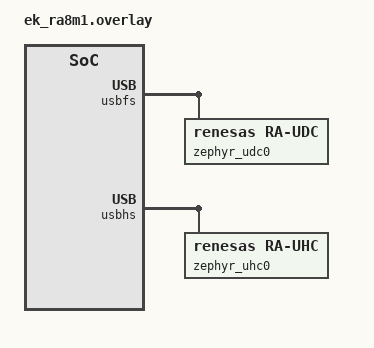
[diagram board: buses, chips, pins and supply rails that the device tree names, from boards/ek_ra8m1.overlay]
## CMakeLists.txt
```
# SPDX-FileCopyrightText: Copyright 2026 Renesas, Embedd
# SPDX-License-Identifier: Apache-2.0

cmake_minimum_required(VERSION 3.20.0)

find_package(Zephyr REQUIRED HINTS $ENV{ZEPHYR_BASE})
project(test_usbh_msc)

if(${BOARD} STREQUAL "native_sim")
  include(${ZEPHYR_BASE}/samples/subsys/usb/common/common.cmake)
endif()

target_include_directories(app PRIVATE ${ZEPHYR_BASE}/tests/subsys/usb/host/common)
target_include_directories(app PRIVATE ${ZEPHYR_BASE}/subsys/usb/host)

target_sources(app PRIVATE src/msc.c)

if(${BOARD} STREQUAL "native_sim")
    target_sources(app PRIVATE src/ram_disk.c src/fault_disk.c)
endif()
```

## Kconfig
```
# SPDX-FileCopyrightText: Copyright 2026 Renesas, Embedd
# SPDX-License-Identifier: Apache-2.0

config SYS_CLOCK_TICKS_PER_SEC
	default 1000000 if BOARD_NATIVE_SIM

config TEST_NUM_LUN
	int
	default 3 if BOARD_NATIVE_SIM
	default 1

# Source common USB sample options used to initialize new experimental USB
# device stack. The scope of these options is limited to USB samples in project
# tree, you cannot use them in your own application.
source "samples/subsys/usb/common/Kconfig.sample_usbd"

source "Kconfig.zephyr"
```

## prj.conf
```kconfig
# SPDX-FileCopyrightText: Copyright 2026 Renesas, Embedd
# SPDX-License-Identifier: Apache-2.0

CONFIG_LOG=y
CONFIG_ZTEST=y

CONFIG_USB_DEVICE_STACK_NEXT=y
CONFIG_SAMPLE_USBD_PID=0xFFFF
CONFIG_SAMPLE_USBD_REMOTE_WAKEUP=y
CONFIG_SAMPLE_USBD_PRODUCT="Zephyr USB MSC Test"

CONFIG_UHC_DRIVER=y
CONFIG_USB_HOST_STACK=y
CONFIG_USBH_MSC_CLASS=y

CONFIG_UART_LINE_CTRL=y

CONFIG_USBD_MSC_CLASS=y
CONFIG_USBH_MSC_MAX_SUPPORTED_LUN=3
CONFIG_USBD_MSC_LUNS_PER_INSTANCE=3
CONFIG_USBD_MSC_SCSI_BUFFER_SIZE=1024
CONFIG_FS_FATFS_MAX_SS=1024
CONFIG_FILE_SYSTEM=y
CONFIG_FAT_FILESYSTEM_ELM=y
CONFIG_FS_FATFS_LFN=y
CONFIG_USBH_STACK_SIZE=4096

CONFIG_UHC_BUF_POOL_SIZE=4096
CONFIG_UHC_XFER_COUNT=32
CONFIG_UHC_BUF_COUNT=32

CONFIG_UHC_RENESAS_RA_STACK_SIZE=1024
CONFIG_ZTEST_STACK_SIZE=2048

CONFIG_FS_FATFS_CUSTOM_MOUNT_POINT_COUNT=4
CONFIG_FS_FATFS_CUSTOM_MOUNT_POINTS="RAM0,RAM1,USB0_0,USB0_1"

CONFIG_USBH_MSC_LOG_LEVEL_INF=y
CONFIG_USBH_LOG_LEVEL_INF=y
CONFIG_UHC_DRIVER_LOG_LEVEL_INF=y

CONFIG_DEBUG_OPTIMIZATIONS=y
```

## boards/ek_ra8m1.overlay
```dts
/*
 * SPDX-FileCopyrightText: Copyright 2026 Renesas, Embedd
 * SPDX-License-Identifier: Apache-2.0
 */

/delete-node/ &zephyr_udc0;
/delete-node/ &zephyr_uhc0;

&usbfs {
	pinctrl-0 = <&usbfs_default>;
	pinctrl-names = "default";
	maximum-speed = "full-speed";
	status = "okay";

	zephyr_udc0: udc {
		compatible = "renesas,ra-udc";
		status = "okay";
	};
};

&usbhs {
	pinctrl-0 = <&usbhs_default>;
	pinctrl-names = "default";
	maximum-speed = "high-speed";
	status = "okay";

	zephyr_uhc0: uhc {
		compatible = "renesas,ra-uhc";
		status = "okay";
	};
};
```

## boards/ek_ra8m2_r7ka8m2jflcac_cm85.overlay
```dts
/*
 * SPDX-FileCopyrightText: Copyright 2026 Renesas, Embedd
 * SPDX-License-Identifier: Apache-2.0
 */

/delete-node/ &zephyr_udc0;

&ioportd {
	status = "okay";

	/* Set PD07 to high to enable host mode on USBHS port */
	usbhs-hog {
		gpio-hog;
		gpios = <7 GPIO_ACTIVE_HIGH>;
		output-high;
	};
};

&usbhs {
	pinctrl-0 = <&usbhs_default>;
	interrupts = <28 1>;
	interrupt-names = "usbhs-ir";
	status = "okay";

	zephyr_uhc0: uhc {
		status = "okay";
	};
};
```

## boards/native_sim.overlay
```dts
/*
 * SPDX-FileCopyrightText: Copyright 2026 Renesas, Embedd
 * SPDX-License-Identifier: Apache-2.0
 */

/delete-node/ &zephyr_udc0;

/ {
	zephyr_uhc0: uhc_vrt0 {
		compatible = "zephyr,uhc-virtual";

		zephyr_udc0: udc_vrt0 {
			compatible = "zephyr,udc-virtual";
			num-bidir-endpoints = <8>;
			maximum-speed = "high-speed";
		};
	};

	ramdisk0: ramdisk0 {
		status = "okay";
		compatible = "zephyr,ram-disk";
		disk-name = "RAM0";
		sector-size = <512>;
		sector-count = <1024>;
	};

	ramdisk1: ramdisk1 {
		status = "okay";
		compatible = "zephyr,ram-disk";
		disk-name = "RAM1";
		sector-size = <1024>;
		sector-count = <512>;
	};
};
```

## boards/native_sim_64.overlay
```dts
/*
 * SPDX-FileCopyrightText: Copyright 2026 Renesas, Embedd
 * SPDX-License-Identifier: Apache-2.0
 */

#include "native_sim.overlay"
```

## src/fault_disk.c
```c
/*
 * SPDX-FileCopyrightText: Copyright 2026 Renesas, Embedd
 * SPDX-License-Identifier: Apache-2.0
 */

#include <string.h>

#include <zephyr/kernel.h>
#include <zephyr/usb/class/usbd_msc.h>
#include <zephyr/drivers/disk.h>
#include <zephyr/storage/disk_access.h>

#include "fault_disk.h"

#define FAULT_DISK_SECTOR_SIZE  512u
#define FAULT_DISK_SECTOR_COUNT 64u

/*
 * `USBD_DEFINE_MSC_LUN(id, ...)` places its LUN in the `usbd_msc_lun` iterable section, which
 * the linker sorts alphabetically by the resulting `usbd_msc_lun_##id` symbol name (SORT_BY_NAME,
 * see include/zephyr/linker/iterable_sections.h) -- NOT by declaration/link order. This id is
 * chosen to sort after ram_disk.c's "ram0"/"ram1" so this LUN lands last (index CONFIG_TEST_NUM_LUN
 * - 1, i.e. "USB0_2"), matching DISK_DRIVE_NAME_FAULT in msc.c.
 */
USBD_DEFINE_MSC_LUN(zzz_fault, FAULT_DISK_NAME, "Zephyr", "FaultDisk", "0.00");

static uint8_t backing[FAULT_DISK_SECTOR_COUNT][FAULT_DISK_SECTOR_SIZE];

/* -1: report the real status; otherwise the DISK_STATUS_* value to report instead */
static int status_override = -1;
static bool read_should_fail;
static bool write_should_fail;

static int fault_disk_init(struct disk_info *disk)
{
	ARG_UNUSED(disk);

	return 0;
}

static int fault_disk_status(struct disk_info *disk)
{
	ARG_UNUSED(disk);

	return status_override >= 0 ? status_override : DISK_STATUS_OK;
}

static int fault_disk_read(struct disk_info *disk, uint8_t *data_buf, uint32_t start_sector,
			   uint32_t num_sector)
{
	ARG_UNUSED(disk);

	if (read_should_fail) {
		return -EIO;
	}

	if (start_sector + num_sector > FAULT_DISK_SECTOR_COUNT) {
		return -EINVAL;
	}

	memcpy(data_buf, backing[start_sector], (size_t)num_sector * FAULT_DISK_SECTOR_SIZE);

	return 0;
}

static int fault_disk_write(struct disk_info *disk, const uint8_t *data_buf, uint32_t start_sector,
			    uint32_t num_sector)
{
	ARG_UNUSED(disk);

	if (write_should_fail) {
		return -EIO;
	}

	if (start_sector + num_sector > FAULT_DISK_SECTOR_COUNT) {
		return -EINVAL;
	}

	memcpy(backing[start_sector], data_buf, (size_t)num_sector * FAULT_DISK_SECTOR_SIZE);

	return 0;
}

static int fault_disk_ioctl(struct disk_info *disk, uint8_t cmd, void *buff)
{
	ARG_UNUSED(disk);

	switch (cmd) {
	case DISK_IOCTL_GET_SECTOR_COUNT:
		*(uint32_t *)buff = FAULT_DISK_SECTOR_COUNT;
		return 0;
	case DISK_IOCTL_GET_SECTOR_SIZE:
		*(uint32_t *)buff = FAULT_DISK_SECTOR_SIZE;
		return 0;
	case DISK_IOCTL_CTRL_SYNC:
	case DISK_IOCTL_CTRL_INIT:
	case DISK_IOCTL_CTRL_DEINIT:
		return 0;
	default:
		return -ENOTSUP;
	}
}

static const struct disk_operations fault_disk_ops = {
	.init = fault_disk_init,
	.status = fault_disk_status,
	.read = fault_disk_read,
	.write = fault_disk_write,
	.ioctl = fault_disk_ioctl,
};

static struct disk_info fault_disk_info = {
	.name = FAULT_DISK_NAME,
	.ops = &fault_disk_ops,
};

void fault_disk_setup(void)
{
	disk_access_register(&fault_disk_info);
}

void fault_disk_reset(void)
{
	status_override = -1;
	read_should_fail = false;
	write_should_fail = false;
}

void fault_disk_set_status_override(int status)
{
	status_override = status;
}

void fault_disk_set_read_error(bool fail)
{
	read_should_fail = fail;
}

void fault_disk_set_write_error(bool fail)
{
	write_should_fail = fail;
}
```

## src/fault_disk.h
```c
/*
 * SPDX-FileCopyrightText: Copyright 2026 Renesas, Embedd
 * SPDX-License-Identifier: Apache-2.0
 */

#ifndef FAULT_DISK_H_INCLUDED
#define FAULT_DISK_H_INCLUDED

#include <stdbool.h>

/* Disk name as registered with the Disk Access API and exposed as a third MSC LUN */
#define FAULT_DISK_NAME "FAULT0"

/**
 * @brief Register the simulated fault-injectable disk
 */
void fault_disk_setup(void);

/**
 * @brief Clear all fault injection, restoring normal disk behavior
 */
void fault_disk_reset(void);

/**
 * @brief Override the value reported by the disk's status callback
 *
 * @param status A DISK_STATUS_* value to report, or -1 to report the real (normal) status
 */
void fault_disk_set_status_override(int status);

/**
 * @brief Force (or stop forcing) the next reads to fail
 *
 * @param fail true to make reads fail, false to let them succeed normally
 */
void fault_disk_set_read_error(bool fail);

/**
 * @brief Force (or stop forcing) the next writes to fail
 *
 * @param fail true to make writes fail, false to let them succeed normally
 */
void fault_disk_set_write_error(bool fail);

#endif /* FAULT_DISK_H_INCLUDED */
```

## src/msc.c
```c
/*
 * SPDX-FileCopyrightText: Copyright 2026 Renesas, Embedd
 * SPDX-License-Identifier: Apache-2.0
 */

#include <zephyr/ztest.h>
#include <zephyr/usb/usbd.h>
#include <zephyr/input/input.h>
#if DT_NODE_HAS_STATUS(DT_NODELABEL(ramdisk0), okay) ||                                            \
	DT_NODE_HAS_STATUS(DT_NODELABEL(ramdisk1), okay)
#include <sample_usbd.h>
#endif
#include <zephyr/usb/class/usbd_msc.h>
#include <zephyr/kernel.h>
#include <zephyr/device.h>
#include <zephyr/storage/disk_access.h>
#include <zephyr/logging/log.h>
#include <zephyr/fs/fs.h>
#include <zephyr/ztest.h>
#include <zephyr/logging/log.h>
LOG_MODULE_REGISTER(test, LOG_LEVEL_INF);

#include <ff.h>
#include "usbh_desc.h"
#include "usbh_device.h"
#include "ram_disk.h"
#include "fault_disk.h"

/* USB Host controller */
USBH_CONTROLLER_DEFINE(test_uhs_ctx, DEVICE_DT_GET(DT_NODELABEL(zephyr_uhc0)));

/* File system test parameters */
#define SOME_FILE_NAME    "file"
#define SOME_DIR_NAME     "some"
#define SOME_REQUIRED_LEN MAX(sizeof(SOME_FILE_NAME), sizeof(SOME_DIR_NAME))
#define NUM_FILES         5

/* Test up to two logical units */
#define DISK_DRIVE_NAME_0 "USB0_0"
#define DISK_MOUNT_PT_0   "/" DISK_DRIVE_NAME_0 ":"

#if CONFIG_TEST_NUM_LUN > 1
#define DISK_DRIVE_NAME_1 "USB0_1"
#define DISK_MOUNT_PT_1   "/" DISK_DRIVE_NAME_1 ":"
#endif

#if CONFIG_TEST_NUM_LUN > 2
/* Third logical unit, backed by the fault-injectable disk */
#define DISK_DRIVE_NAME_FAULT "USB0_2"
#endif

/* USB Host controller context pointer for convenience */
struct usbh_context *const uhs_ctx = &test_uhs_ctx;
#if DT_NODE_HAS_STATUS(DT_NODELABEL(ramdisk0), okay) ||                                            \
	DT_NODE_HAS_STATUS(DT_NODELABEL(ramdisk1), okay)
/* USB Device controller context pointer for convenience */
static struct usbd_context *test_usbd = NULL;
#endif

/* Test data to be written to files */
static uint8_t const lorem_ipsum_buffer[] =
	"Lorem ipsum dolor sit amet, consectetur adipiscing elit. Pellentesque eget nunc vel "
	"mauris faucibus iaculis. Phasellus finibus porttitor arcu. "
	"Proin condimentum dignissim lectus, eu elementum eros hendrerit vitae. Phasellus id "
	"luctus sapien. Donec dapibus justo a urna sollicitudin, nec "
	"dapibus velit sodales. Duis posuere tellus in venenatis gravida. Curabitur vestibulum "
	"efficitur finibus. Curabitur elementum non sem imperdiet "
	"feugiat. Vivamus in orci tortor. Cras aliquam facilisis nisi ut suscipit. Phasellus sem "
	"purus, tincidunt quis lacinia efficitur, ultrices "
	"vehicula diam. Nunc posuere scelerisque tellus, eget viverra mauris suscipit non. "
	"Praesent eros lorem, tincidunt eu porttitor et, porta non "
	"ipsum. Sed ultricies purus in neque luctus varius. Nulla enim risus, posuere et molestie "
	"a, congue sed est. Nunc egestas laoreet sapien ut "
	"sagittis. Aliquam efficitur velit a augue maximus scelerisque. Donec euismod est vel odio "
	"vestibulum laoreet. Cras gravida luctus volutpat. "
	"Pellentesque eleifend non lorem vel semper. Nullam gravida dolor non rutrum interdum. "
	"Fusce vel lectus fringilla, varius lectus non, condimentum "
	"tortor. Ut ac justo ut tellus semper laoreet. Curabitur placerat, magna ac consequat "
	"scelerisque, nunc ex vulputate purus, a venenatis lectus "
	"nisi at dui. Vivamus luctus tellus massa. Vivamus sagittis, ex a ultrices ullamcorper, "
	"ante lacus pulvinar felis, a tempus nunc nulla eu massa. "
	"Proin elementum ornare ligula, id rutrum eros commodo at. Sed dignissim eros et molestie "
	"lacinia. Praesent ac tempus erat. Pellentesque vulputate "
	"ligula ex, vitae varius justo efficitur at. Lorem ipsum dolor sit amet, consectetur "
	"adipiscing elit. Vestibulum ac lacus sodales, vulputate purus "
	"a, sagittis dolor. Ut ut lacus faucibus massa interdum fringilla. Interdum et malesuada "
	"fames ac ante ipsum primis in faucibus. Integer "
	"ullamcorper dignissim orci. Aliquam erat volutpat.";

static void *suite_setup(void)
{
	int result = 0;

	result = usbh_init(uhs_ctx);
	zassert_ok(result, "Failed to initialize USB host");

	result = usbh_enable(uhs_ctx);
	zassert_ok(result, "Failed to enable USB host");
	k_msleep(500);

	result = uhc_bus_resume(uhs_ctx->dev);
	zassert_ok(result, "Failed to signal bus resume");
	k_msleep(500);

	result = uhc_bus_reset(uhs_ctx->dev);
	zassert_ok(result, "Failed to signal bus reset");

	result = uhc_sof_enable(uhs_ctx->dev);
	zassert_ok(result, "Failed to enable SoF generator");

#if DT_NODE_HAS_STATUS(DT_NODELABEL(ramdisk0), okay) ||                                            \
	DT_NODE_HAS_STATUS(DT_NODELABEL(ramdisk1), okay)
	ram_disk_setup();
	fault_disk_setup();

	test_usbd = sample_usbd_setup_device(NULL);
	zassert_not_null(test_usbd, "Failed to setup USB device");

	result = usbd_init(test_usbd);
	zassert_ok(result, "Failed to initialize device support");

	result = usbd_enable(test_usbd);
	zassert_ok(result, "Failed to enable device support");

#endif
	/* Allow the host time to reset the device. */
	k_msleep(1000);

	return NULL;
}

static void suite_shutdown(void *f)
{
	int result = 0;

#if DT_NODE_HAS_STATUS(DT_NODELABEL(ramdisk0), okay) ||                                            \
	DT_NODE_HAS_STATUS(DT_NODELABEL(ramdisk1), okay)
	result = usbd_disable(test_usbd);
	zassert_ok(result, "Failed to disable device support");

	result = usbd_shutdown(test_usbd);
	zassert_ok(result, "Failed to shutdown device support");
#endif

	result = usbh_disable(uhs_ctx);
	zassert_ok(result, "Failed to disable USB host");

	result = usbh_shutdown(uhs_ctx);
	zassert_ok(result, "Failed to shutdown host support");
}

ZTEST_SUITE(usbh_msc_suite, NULL, suite_setup, NULL, NULL, suite_shutdown);

/*
 * Initialize a disk
 */
static void initialize_disk(const char *name, const char *mount_point, struct fs_mount_t *mp)
{
	int result = 0;
	unsigned int attempts = 0;

	do {
		result = disk_access_ioctl(name, DISK_IOCTL_CTRL_INIT, NULL);
		/* The disk may not be mounted yet, give it some time */
		if (result != 0) {
			attempts++;
			zassert_true(attempts < 10, "Timed out waiting for disk");
			k_msleep(1000);
			continue;
		}
	} while (result != 0);

	zassert_equal(result, 0);

	mp->mnt_point = mount_point;

	result = fs_mount(mp);
	zassert_ok(result, "Unable to mount");
}

/*
 * Check unit metadata
 */
static void check_metadata(const char *name, uint32_t block_count, uint32_t block_size)
{
	uint64_t memory_size_mb = 0u;
	uint32_t actual_block_count = 0u;
	uint32_t actual_block_size = 0u;
	uint32_t actual_erase_block_size = 0u;
	int result = 0;

	/* IOCTL not supported for MSC devices */
	result = disk_access_ioctl(name, DISK_IOCTL_GET_ERASE_BLOCK_SZ, &actual_erase_block_size);
	zassert_equal(-ENOTSUP, result, "Erase should not be supported for MSC devices");

	result = disk_access_ioctl(name, DISK_IOCTL_GET_SECTOR_COUNT, &actual_block_count);
	zassert_ok(result, "Unable to get sector count");
	zassert_equal(actual_block_count, block_count, "Wrong block count: expected %lu, found %lu",
		      block_count, actual_block_count);

	result = disk_access_ioctl(name, DISK_IOCTL_GET_SECTOR_SIZE, &actual_block_size);
	zassert_ok(result, "Unable to get sector size");
	zassert_equal(actual_block_size, block_size, "Wrong block size: expected %lu, found %lu",
		      block_size, actual_block_size);

	zassert_equal(memory_size_mb,
		      (uint64_t)(actual_block_count * actual_block_size) / 1000000ul);
}

/*
 * Create a bunch of files to be later read
 */
static void write_files(const char *base_path)
{
	char path[128] = {0};
	struct fs_file_t file = {0};
	int result = 0;
	size_t total_length = strlen(lorem_ipsum_buffer);

	fs_file_t_init(&file);

	snprintf(path, sizeof(path), "%s/%s", base_path, SOME_DIR_NAME);
	result = fs_mkdir(path);
	zassert_equal(result == 0 || result == -EEXIST, 1, "Failed to create dir");

	for (size_t i = 0; i < NUM_FILES; i++) {
		snprintf(path, sizeof(path), "%s/%s/%s%zu.txt", base_path, SOME_DIR_NAME,
			 SOME_FILE_NAME, i);

		result = fs_open(&file, path, FS_O_CREATE | FS_O_WRITE | FS_O_TRUNC);
		zassert_ok(result, "Failed to create file");

		size_t written = 0;
		while (written < total_length) {
			int size = total_length - written;
			int result = fs_write(&file, &lorem_ipsum_buffer[written], size);
			zassert_true(result > 0, "Failed to write");
			written += result;
		}
		result = fs_close(&file);
		zassert_ok(result, "Failed to close file");

		result = fs_open(&file, path, FS_O_READ);
		zassert_ok(result, "Failed to reopen file");

		int length = 0;
		uint8_t buffer[65] = {};
		size_t read = 0;
		/* When reading leave 1 byte out for the terminating zero */
		while ((length = fs_read(&file, buffer, sizeof(buffer) - 1)) > 0) {
			zassert_equal(memcmp(&lorem_ipsum_buffer[read], buffer, length), 0,
				      "Read does not match!");
			read += length;
			memset(buffer, 0, sizeof(buffer));
		}
		fs_close(&file);
	}
}

/*
 * Verify the content of the previously created files
 */
static void check_files(const char *path)
{
	int result = 0;
	struct fs_dir_t dirp = {0};
	static struct fs_dirent entry = {0};
	int count = 0;
	uint32_t map = 0;
	size_t total_length = strlen(lorem_ipsum_buffer);

	fs_dir_t_init(&dirp);

	/* Verify fs_opendir() */
	result = fs_opendir(&dirp, path);
	zassert_ok(result, "Error opening dir");

	for (;;) {
		/* Verify fs_readdir() */
		result = fs_readdir(&dirp, &entry);

		/* entry.name[0] == 0 means end-of-dir */
		if (result || entry.name[0] == 0) {
			break;
		}

		if (entry.type == FS_DIR_ENTRY_FILE) {
			int file_index = 0;
			result = sscanf(entry.name, SOME_FILE_NAME "%i.txt", &file_index);
			map |= 1 << file_index;

			zassert_equal(result, 1, "Wrong file name");
			zassert_equal(entry.size, total_length, "Wrong file size");
		}
		count++;
	}

	zassert_equal(map, (1 << NUM_FILES) - 1, "Wrong file names");
	zassert_equal(count, NUM_FILES, "Wrong number of files");

	/* Verify fs_closedir() */
	result = fs_closedir(&dirp);
	zassert_ok(result, "Error closing dir");
}

ZTEST(usbh_msc_suite, test_usbh_msc_lun_1)
{
	static FATFS fat_fs = {0};
	static struct fs_mount_t mp = {
		.type = FS_FATFS,
		.fs_data = &fat_fs,
	};

	initialize_disk(DISK_DRIVE_NAME_0, DISK_MOUNT_PT_0, &mp);
	check_metadata(DISK_DRIVE_NAME_0, 1024, 512);
	write_files(DISK_MOUNT_PT_0);
	check_files(DISK_MOUNT_PT_0 "/" SOME_DIR_NAME);
	fs_unmount(&mp);
}

#if CONFIG_TEST_NUM_LUN > 1
ZTEST(usbh_msc_suite, test_usbh_msc_lun_2)
{
	static FATFS fat_fs = {0};
	static struct fs_mount_t mp = {
		.type = FS_FATFS,
		.fs_data = &fat_fs,
	};

	initialize_disk(DISK_DRIVE_NAME_1, DISK_MOUNT_PT_1, &mp);
	check_metadata(DISK_DRIVE_NAME_1, 512, 1024);
	write_files(DISK_MOUNT_PT_1);
	check_files(DISK_MOUNT_PT_1 "/" SOME_DIR_NAME);
	fs_unmount(&mp);
}
#endif

#if CONFIG_TEST_NUM_LUN > 2
/*
 * The following tests exercise error paths of the MSC driver's disk_access API, by making the
 * emulated device (the fault-injectable disk backing the third LUN) give an invalid or
 * unexpected response to the host's request.
 */

/*
 * Wait for the disk to become ready, without mounting a filesystem on it.
 */
static void wait_disk_ready(const char *name)
{
	int result = 0;
	unsigned int attempts = 0;

	do {
		result = disk_access_ioctl(name, DISK_IOCTL_CTRL_INIT, NULL);
		if (result != 0) {
			attempts++;
			zassert_true(attempts < 10, "Timed out waiting for disk");
			k_msleep(1000);
			continue;
		}
	} while (result != 0);
}

ZTEST(usbh_msc_suite, test_usbh_msc_fault_disk_normal_operation)
{
	uint8_t write_buffer[512];
	uint8_t read_buffer[512] = {0u};
	int result = 0;

	fault_disk_reset();
	wait_disk_ready(DISK_DRIVE_NAME_FAULT);

	memset(write_buffer, 0xA5, sizeof(write_buffer));

	result = disk_access_write(DISK_DRIVE_NAME_FAULT, write_buffer, 0, 1);
	zassert_ok(result, "Unable to write");

	result = disk_access_read(DISK_DRIVE_NAME_FAULT, read_buffer, 0, 1);
	zassert_ok(result, "Unable to read");

	zassert_mem_equal(write_buffer, read_buffer, sizeof(write_buffer), "Wrong data read back");
}

ZTEST(usbh_msc_suite, test_usbh_msc_fault_disk_oversized_transfer)
{
	uint8_t buffer[512];
	uint32_t sector_count = 0u;
	int result = 0;

	fault_disk_reset();
	wait_disk_ready(DISK_DRIVE_NAME_FAULT);

	result = disk_access_ioctl(DISK_DRIVE_NAME_FAULT, DISK_IOCTL_GET_SECTOR_COUNT,
				   &sector_count);
	zassert_ok(result, "Unable to get sector count");

	/* Reading or writing past the end of the disk should be rejected */
	result = disk_access_read(DISK_DRIVE_NAME_FAULT, buffer, sector_count, 1);
	zassert_equal(-EINVAL, result, "An out-of-range read should be rejected");

	result = disk_access_write(DISK_DRIVE_NAME_FAULT, buffer, sector_count, 1);
	zassert_equal(-EINVAL, result, "An out-of-range write should be rejected");

	/* More sectors than fit in a uint16_t should also be rejected */
	result = disk_access_read(DISK_DRIVE_NAME_FAULT, buffer, 0, 0x10000);
	zassert_equal(-EINVAL, result, "A read of more than 65535 sectors should be rejected");

	result = disk_access_write(DISK_DRIVE_NAME_FAULT, buffer, 0, 0x10000);
	zassert_equal(-EINVAL, result, "A write of more than 65535 sectors should be rejected");
}

ZTEST(usbh_msc_suite, test_usbh_msc_fault_disk_erase_not_supported)
{
	int result = disk_access_erase(DISK_DRIVE_NAME_FAULT, 0, 1, DISK_ACCESS_ERASE_PHYSICAL);

	zassert_equal(-ENOTSUP, result, "Erase should not be supported for MSC devices");
}

ZTEST(usbh_msc_suite, test_usbh_msc_fault_disk_write_error)
{
	uint8_t buffer[512] = {0};
	int result = 0;

	fault_disk_reset();
	wait_disk_ready(DISK_DRIVE_NAME_FAULT);

	fault_disk_set_write_error(true);

	result = disk_access_write(DISK_DRIVE_NAME_FAULT, buffer, 0, 1);
	zassert_true(result != 0, "A write error from the device should have surfaced");

	fault_disk_set_write_error(false);

	result = disk_access_status(DISK_DRIVE_NAME_FAULT);
	zassert_equal(DISK_STATUS_OK, result,
		      "A transient write error should not disable the whole unit");

	result = disk_access_write(DISK_DRIVE_NAME_FAULT, buffer, 0, 1);
	zassert_ok(result, "Unable to write after clearing the fault");
}

ZTEST(usbh_msc_suite, test_usbh_msc_fault_disk_read_error)
{
	uint8_t buffer[512] = {0};
	int result = 0;

	fault_disk_reset();
	wait_disk_ready(DISK_DRIVE_NAME_FAULT);

	fault_disk_set_read_error(true);

	result = disk_access_read(DISK_DRIVE_NAME_FAULT, buffer, 0, 1);
	zassert_true(result != 0, "A read error from the device should be surfaced");

	fault_disk_set_read_error(false);

	result = disk_access_status(DISK_DRIVE_NAME_FAULT);
	zassert_equal(DISK_STATUS_OK, result,
		      "A transient read error should not disable the whole unit");

	result = disk_access_read(DISK_DRIVE_NAME_FAULT, buffer, 0, 1);
	zassert_ok(result, "Unable to read after clearing the fault");
}

ZTEST(usbh_msc_suite, test_usbh_msc_fault_disk_medium_removed_and_reinserted)
{
	uint8_t buffer[512] = {0};
	int result = 0;

	fault_disk_reset();
	wait_disk_ready(DISK_DRIVE_NAME_FAULT);

	/* Simulate the medium being pulled */
	fault_disk_set_status_override(DISK_STATUS_NOMEDIA);

	result = disk_access_read(DISK_DRIVE_NAME_FAULT, buffer, 0, 1);
	zassert_equal(-ENOMEDIUM, result, "A missing medium should be reported");

	result = disk_access_status(DISK_DRIVE_NAME_FAULT);
	zassert_equal(DISK_STATUS_NOMEDIA, result, "Disk status should reflect the missing medium");

	/* Simulate the medium being reinserted */
	fault_disk_set_status_override(-1);

	result = disk_access_ioctl(DISK_DRIVE_NAME_FAULT, DISK_IOCTL_CTRL_DEINIT, NULL);
	zassert_ok(result, "Unable to deinitialize the disk");

	result = disk_access_ioctl(DISK_DRIVE_NAME_FAULT, DISK_IOCTL_CTRL_INIT, NULL);
	zassert_ok(result, "Unable to reinitialize the disk after reinsertion");

	result = disk_access_read(DISK_DRIVE_NAME_FAULT, buffer, 0, 1);
	zassert_ok(result, "Unable to read after the medium was reinserted");
}
#endif /* CONFIG_TEST_NUM_LUN > 2 */
```

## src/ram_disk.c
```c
/*
 * SPDX-FileCopyrightText: Copyright 2026 Renesas, Embedd
 * SPDX-License-Identifier: Apache-2.0
 */

#include <zephyr/kernel.h>
#include <zephyr/usb/usbd.h>
#include <zephyr/usb/class/usbd_msc.h>
#include <zephyr/fs/fs.h>
#include <zephyr/ztest.h>

#include <ff.h>

/* The test case simulates up to two units using RAM */
#if DT_NODE_HAS_STATUS(DT_NODELABEL(ramdisk0), okay)
USBD_DEFINE_MSC_LUN(ram0, "RAM0", "Zephyr", "RAMDisk", "0.00");
static struct fs_mount_t fs_mnt0;
static FATFS fat_fs0;
#endif

#if DT_NODE_HAS_STATUS(DT_NODELABEL(ramdisk1), okay)
USBD_DEFINE_MSC_LUN(ram1, "RAM1", "Zephyr", "RAMDisk", "0.00");
static struct fs_mount_t fs_mnt1;
static FATFS fat_fs1;
#endif

/**
 * @brief Setup a local FAT filesystem
 *
 * @param mnt_point Mount point string
 * @param fs_mnt    Mount point data
 * @param fat_fs    FAT file system data
 */
static void setup_disk(char const *mnt_point, struct fs_mount_t *fs_mnt, FATFS *fat_fs)
{
	struct fs_mount_t *mp = fs_mnt;
	struct fs_dir_t dir = {0};
	int result = 0;

	fs_dir_t_init(&dir);

	mp->type = FS_FATFS;
	mp->fs_data = fat_fs;
	mp->mnt_point = mnt_point;

	result = fs_mount(mp);
	zassert_ok(result, "Failed to mount filesystem");
}

void ram_disk_setup(void)
{
#if DT_NODE_HAS_STATUS(DT_NODELABEL(ramdisk0), okay)
	setup_disk("/RAM0:", &fs_mnt0, &fat_fs0);
#endif
#if DT_NODE_HAS_STATUS(DT_NODELABEL(ramdisk1), okay)
	setup_disk("/RAM1:", &fs_mnt1, &fat_fs1);
#endif
}
```

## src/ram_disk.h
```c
/*
 * SPDX-FileCopyrightText: Copyright 2026 Renesas, Embedd
 * SPDX-License-Identifier: Apache-2.0
 */

#ifndef RAM_DISK_H_INCLUDED
#define RAM_DISK_H_INCLUDED

/**
 * @brief Setup simulated RAM disks
 */
void ram_disk_setup(void);

#endif /* RAM_DISK_H_INCLUDED */
```
